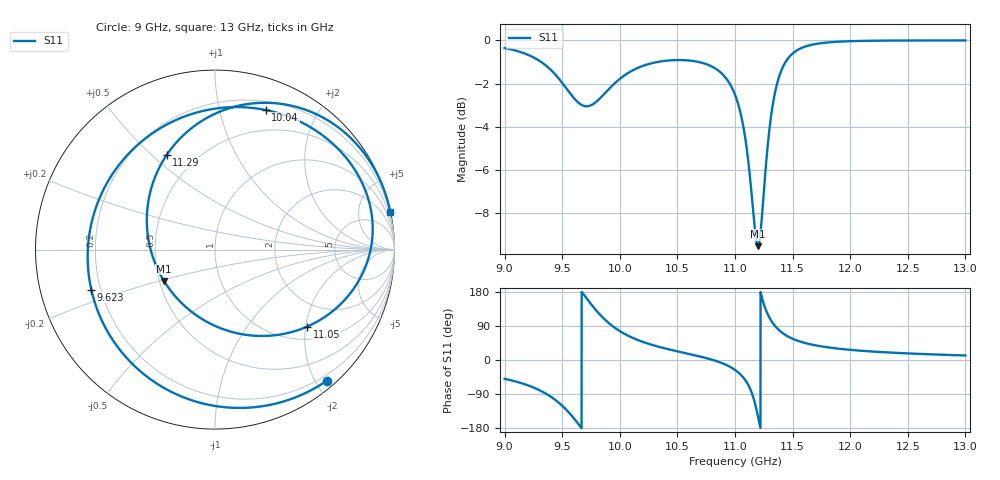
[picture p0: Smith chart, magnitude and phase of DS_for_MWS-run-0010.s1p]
! TOUCHSTONE file generated by CST DESIGN STUDIO
! Date and time: Wed Feb  5 13:36:21 2025
! Project name: C:\Work\MatlabApps\UnitCellOptimizationMatlab\CST\unitcell.cst
! Tree item: Tasks\Sweep1\SPara1\S-Parameters
! Header version: 2024
! Port assignment regex: !\s*Touchstone port\s*([0-9]+)\s*=\s*(CST MWS port|CST DES external port|CST DES block port)\s*(.+)\s* \(\"(.*)\"\)(\s*mode\s*([0-9]+))?.*
! Touchstone port assignment:
! Touchstone port 1 = CST DES external port 1 ("")
# GHz S MA R 50
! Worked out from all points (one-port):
!   4001 points, 9 GHz to 13 GHz, reference 50 ohm
!   lowest |S11| = -9.5 dB at 11.2 GHz (marker M1), VSWR 2.00, Z = 26.4 - j10.4 ohm
!   |S11| at or under -10 dB: nowhere
!   S11 on the Smith chart (normalised r, x): 9 GHz: 0.12, -2.16; 9.623 GHz: 0.16, -0.15; 10.04 GHz: 0.28, +1.39; 11.05 GHz: 1.32, -2.04; 11.29 GHz: 0.34, +0.56; 13 GHz: 0.03, +9.54
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9  0.9597 -49.6
9.173  0.9325 -63.7
9.326  0.8877 -83.3
9.42  0.8444 -100.8
9.5  0.7971 -120.8
9.623  0.7245 -162.0
9.712  0.7035 162.5
9.817  0.7293 123.2
9.901  0.7692 98.3
10  0.8142 76.3
10.035  0.8277 70.0
10.236  0.879 44.0
10.5  0.9003 22.8
10.815  0.8652 -0.6
10.92  0.8185 -12.4
11  0.7483 -26.1
11.053  0.6696 -39.8
11.135  0.4679 -78.5
11.199  0.3337 -148.5
11.243  0.4205 154.6
11.29  0.5925 117.0
11.328  0.7102 97.6
11.371  0.8043 82.1
11.5  0.932 56.1
11.689  0.9794 39.2
12  0.9954 26.8
12.5  0.9992 17.4
13  0.9994 12.0
